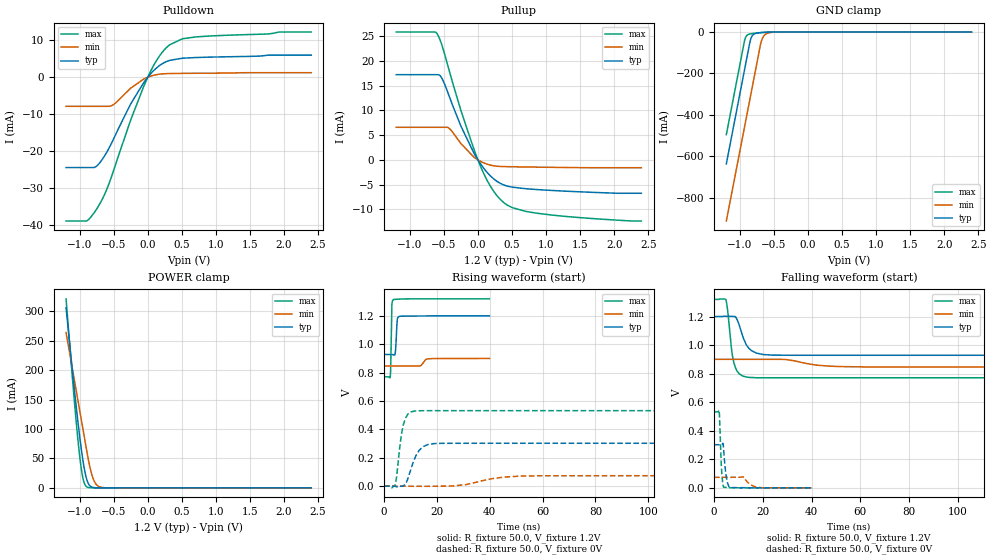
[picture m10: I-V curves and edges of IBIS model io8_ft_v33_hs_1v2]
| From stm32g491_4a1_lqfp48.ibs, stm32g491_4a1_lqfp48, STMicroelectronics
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[Model]   io8_ft_v33_hs_1v2
Model_type I/O
Polarity   Non-Inverting
Enable   Active-Low
| CAP_THRESHOLD on pad IOFT is "UDTCAPC" :
| Rising=30.0% of vddiom   Falling=70.0% of vddiom
| C_comp min and max val. don't necessarily correlate with the min and max pvt
| but are the smallest and greatest pad capacitance found.
| var   typ   min   max
C_comp   1.89804pF  1.82360pF  1.89870pF
|C_comp_pullup   1.10155pF  1.05685pF  1.08560pF
|C_comp_pulldown   796.48500fF  766.74501fF  813.10001fF
Vinl = 270.0mV
Vinh = 924.0mV
Vmeas = 600.0mV   | Reference voltage for timing measurements
Cref  = 50.0pF   | Timing specification test load capacitance value
Rref  = 100.0MOhm   | Timing specification test load resistance value
Vref  = 600.0mV   | Timing specification test load voltage
[Model Spec]
| TIME_THRESHOLD on pin ZIV33M is "CMOS" :
| Rising=50.0% of vddiom   Falling=50.0% of vddiom
Vinl 458.70000mV 364.70000mV 499.70000mV
Vinh 728.30000mV 548.30000mV 792.30000mV
| variable   typ   min   max
[Temperature Range] 25.0 140.0 -40.0
| variable   typ   min   max
[Voltage Range] 1.2V 900.0mV 1.32V
| variable   typ   min   max
[POWER Clamp Reference] 1.2V 900.0mV 1.32V
| variable   typ   min   max
[GND Clamp Reference] 0V 0V 0V
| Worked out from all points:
|   slope of the pulldown table from 0 to 0.18 V, typ, clamps not added: 55.6 ohm
|   slope of the pullup table from 0 to 0.18 V, typ, clamps not added: 56.3 ohm
|   GND clamp passes 1 mA (typ) near -0.61 V on its own axis
|   POWER clamp passes 1 mA (typ) near -0.81 V on its own axis
|   rising waveform, R_fixture 50.0, V_fixture 1.2V: 20-80 % time 435ps typ, 1.27ns min, 277ps max; typ from 0.928 V to 1.2 V
|   falling waveform, R_fixture 50.0, V_fixture 1.2V: 20-80 % time 3.79ns typ, 10.5ns min, 2.27ns max; typ from 1.2 V to 0.928 V
|   rising waveform, R_fixture 50.0, V_fixture 0V: 20-80 % time 3.76ns typ, 11.5ns min, 2.21ns max; typ from 0 V to 0.302 V
|   falling waveform, R_fixture 50.0, V_fixture 0V: 20-80 % time 1.14ns typ, 2.92ns min, 784ps max; typ from 0.302 V to 0 V
[POWER Clamp]
-1.2V     306.2mA    263.9mA    321.2mA
-1.09V    180mA      191mA      163.4mA
-1.05V    136.9mA    164.5mA    110.9mA
-1.01V    96.55mA    138mA      64.02mA
-960mV    52.29mA    104.9mA    20.68mA
-930mV    31.08mA    85.01mA    7.282mA
-900mV    15.67mA    65.13mA    2.025mA
-850mV    3.417mA    35.2mA     196.2uA
-800mV    570.2uA    14.97mA    18.13uA
-750mV    88.98uA    4.952mA    1.667uA
-680mV    6.495uA    823.9uA    58.96nA
2.4V      0A         0A         0A
[GND Clamp]
-1.2V     -636.9mA   -913.2mA   -495.8mA
-940mV    -194.9mA   -471.2mA   -53.78mA
-920mV    -160.9mA   -437.2mA   -28.06mA
-890mV    -109.9mA   -386.2mA   -14.28mA
-850mV    -43.09mA   -318.2mA   -9.18mA
-820mV    -18.33mA   -267.2mA   -7.516mA
-780mV    -7.695mA   -199.2mA   -5.87mA
-690mV    -2.548mA   -49.42mA   -2.9mA
-660mV    -1.868mA   -24.06mA   -2.112mA
-630mV    -1.326mA   -12.18mA   -1.447mA
-430mV    -19.32uA   -177.8uA   -8.091uA
2.4V      298.5pA    77.04nA    207.1pA
| variable   typ   min   max
[Pullup Reference] 1.2V 900.0mV 1.32V
| variable   typ   min   max
[Pulldown Reference] 0V 0V 0V
[Pullup]
-1.2V     17.25mA    6.594mA    25.88mA
-630mV    17.25mA    6.594mA    25.88mA
-600mV    17.25mA    6.594mA    25.56mA
-530mV    16.54mA    6.594mA    23.27mA
-420mV    12.82mA    6.361mA    17.99mA
-250mV    6.833mA    3.302mA    10.02mA
10mV      -217.3uA   -81.33uA   -351.4uA
200mV     -3.465mA   -1.119mA   -5.704mA
390mV     -5.137mA   -1.365mA   -8.762mA
510mV     -5.544mA   -1.401mA   -9.708mA
900mV     -6.043mA   -1.482mA   -10.87mA
2.4V      -6.768mA   -1.593mA   -12.38mA
[Pulldown]
-1.2V     -24.47mA   -7.9mA     -38.94mA
-890mV    -24.47mA   -7.9mA     -38.83mA
-720mV    -23.49mA   -7.9mA     -34.76mA
-610mV    -20.54mA   -7.9mA     -30.69mA
-510mV    -17.01mA   -7.49mA    -25.69mA
-250mV    -7.205mA   -2.955mA   -11.53mA
0V        -15fA      0A         0A
160mV     2.97mA     779.9uA    5.417mA
320mV     4.547mA    983.4uA    8.763mA
510mV     5.135mA    1.031mA    10.4mA
700mV     5.311mA    1.057mA    10.88mA
2.4V      5.965mA    1.209mA    12.22mA
[Ramp]
dV/dt_r 181.27275mV/3.7575ns 44.08574mV/11.4637ns 319.2097mV/2.20258ns
dV/dt_f 162.9125mV/3.78456ns 32.16353mV/10.51946ns 329.56981mV/2.27015ns
R_load = 50.0
| Removed startup time: 0s 0s 0s  .
| Removed end time: 39.9ns.
[Rising Waveform]
R_fixture   = 50.0
V_fixture   = 1.2V
V_fixture_min = 900.0mV
V_fixture_max = 1.32V
0s        928.4mV    846.4mV    770.7mV
2.4ns     928.5mV    846.4mV    772.7mV
2.6ns     928.6mV    846.4mV    868.6mV
2.9ns     928.5mV    846.4mV    1.223V
3ns       928.4mV    846.4mV    1.276V
3.5ns     926.5mV    846.4mV    1.314V
4.3ns     941.9mV    846.4mV    1.317V
5ns       1.165V     846.4mV    1.317V
5.7ns     1.195V     846.4mV    1.318V
39.9ns    1.2V       899.8mV    1.32V
| Removed startup time: 0s 0s 0s  .
| Removed end time: 149.9ns.
[Falling Waveform]
R_fixture   = 50.0
V_fixture   = 1.2V
V_fixture_min = 900.0mV
V_fixture_max = 1.32V
0s        1.2V       900mV      1.32V
4.9ns     1.202V     900mV      1.317V
5.7ns     1.202V     900mV      1.223V
6.9ns     1.202V     900mV      1.008V
8ns       1.201V     900mV      883.7mV
10.4ns    1.136V     900mV      797.1mV
13.8ns    987.7mV    900.6mV    774.1mV
23.4ns    929.9mV    900.3mV    770.7mV
51.9ns    928.4mV    849.2mV    770.7mV
149.9ns   928.5mV    846.4mV    770.7mV
| Removed startup time: 0s 0s 0s  .
| Removed end time: 149.9ns.
[Rising Waveform]
R_fixture   = 50.0
V_fixture   = 0V
V_fixture_min = 0V
V_fixture_max = 0V
0s        -2.581uV   2.34uV     -6.091uV
4.3ns     -1.839mV   -106.7nV   12.34mV
6.1ns     -1.067mV   -299.3nV   293.6mV
7.3ns     963.1uV    -669.7nV   430mV
9ns       49.85mV    1.138uV    506.8mV
11.4ns    183.4mV    32.1uV     529mV
14.7ns    277.2mV    -979.7uV   531.9mV
18.8ns    299.5mV    -389.9uV   532mV
51.1ns    302.1mV    70.28mV    532mV
149.9ns   302.1mV    73.48mV    532mV
| Removed startup time: 0s 0s 0s  .
| Removed end time: 39.9ns.
[Falling Waveform]
R_fixture   = 50.0
V_fixture   = 0V
V_fixture_min = 0V
V_fixture_max = 0V
0s        302.1mV    73.45mV    532mV
2.1ns     302mV      73.46mV    541.7mV
3ns       302.1mV    73.46mV    148.8mV
3.5ns     311.6mV    73.46mV    35.4mV
3.9ns     275.6mV    73.46mV    4.886mV
5ns       78.15mV    73.46mV    2.396mV
6.6ns     2.023mV    73.43mV    643.3uV
12ns      304.1uV    76.04mV    33.58uV
17.8ns    37.41uV    3.31mV     1.778uV
39.9ns    1.494uV    56.47uV    -2.785uV
